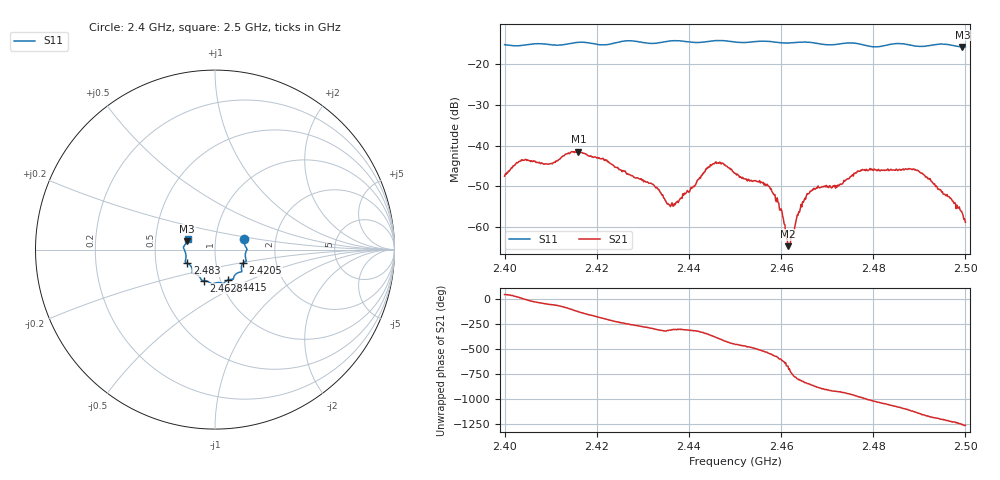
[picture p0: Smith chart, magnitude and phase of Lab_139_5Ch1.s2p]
# Hz S RI R 50
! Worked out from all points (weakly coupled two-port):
!   601 points, 2.4 GHz to 2.5 GHz, reference 50 ohm
!   highest |S21| = -41.44 dB at 2.416 GHz (marker M1); lowest = -64.7 dB at 2.4615 GHz (marker M2)
!   lowest |S11| = -15.8 dB at 2.4993 GHz (marker M3), VSWR 1.39, Z = 36.4 + j3.63 ohm
!   |S11| at or under -10 dB: start of sweep to end of sweep
!   S12 and S22 are empty: the file has one direction only
!   S11 on the Smith chart (normalised r, x): 2.4 GHz: 1.38, +0.16; 2.4205 GHz: 1.35, -0.21; 2.4415 GHz: 1.09, -0.38; 2.4628 GHz: 0.83, -0.30; 2.483 GHz: 0.73, -0.11; 2.5 GHz: 0.73, +0.09
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2.4e9  0.1636 0.0573  0.00306 0.00291  0 0  0 0
2.4035e9  0.1673 0.0223  0.00641 0.00103  0 0  0 0
2.409833e9  0.1732 -0.00922  0.00335 -0.00496  0 0  0 0
2.416e9  0.1745 -0.0617  -0.00528 -0.00663  0 0  0 0
2.416667e9  0.1744 -0.0635  -0.00611 -0.0055  0 0  0 0
2.4205e9  0.1559 -0.0756  -0.0071 0.00046  0 0  0 0
2.433333e9  0.1073 -0.1471  0.00188 0.00221  0 0  0 0
2.4365e9  0.1023 -0.1646  0.00112 0.00143  0 0  0 0
2.4415e9  0.0735 -0.1688  0.00256 0.00222  0 0  0 0
2.445667e9  0.0486 -0.1881  0.00573 -0.00229  0 0  0 0
2.45e9  0.0301 -0.1845  -0.000218 -0.00456  0 0  0 0
2.4575e9  -0.0215 -0.1886  -0.00312 0.000436  0 0  0 0
2.459667e9  -0.0356 -0.18  -0.000769 0.00144  0 0  0 0
2.4615e9  -0.0513 -0.1742  0.000402 0.000425  0 0  0 0
2.462833e9  -0.0623 -0.1727  0.0005 -0.000729  0 0  0 0
2.464667e9  -0.0719 -0.1718  -0.000548 -0.00198  0 0  0 0
2.466667e9  -0.0768 -0.1672  -0.00224 -0.00174  0 0  0 0
2.483e9  -0.1542 -0.0754  0.00456 0.00216  0 0  0 0
2.483333e9  -0.1565 -0.074  0.00458 0.00192  0 0  0 0
2.490167e9  -0.1625 -0.0281  0.00165 -0.00438  0 0  0 0
2.499333e9  -0.1554 0.0485  -0.00149 -0.000102  0 0  0 0
2.5e9  -0.1528 0.0572  -0.00115 8.76e-05  0 0  0 0
